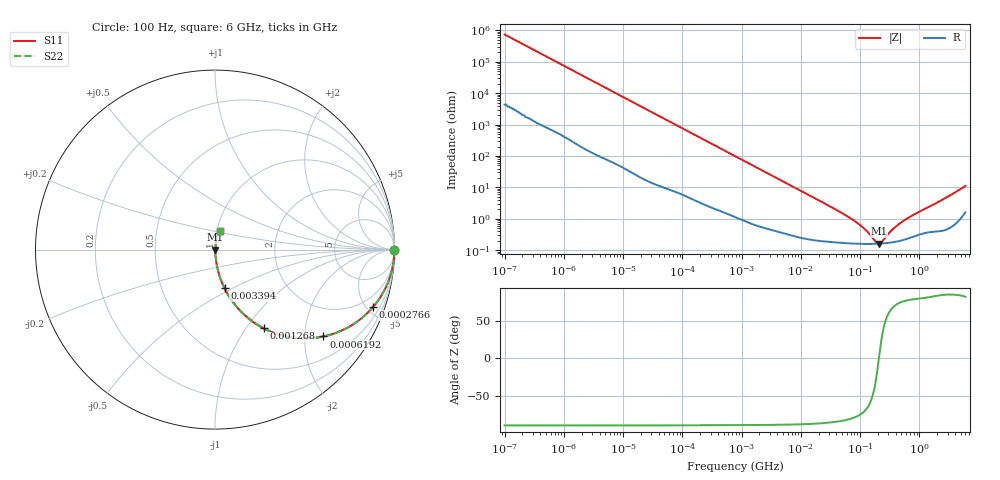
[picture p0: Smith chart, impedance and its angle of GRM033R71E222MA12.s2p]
!Murata Part Number: GRM033R71E222MA12
!These Parameters are Measured in Series Mode Connection
!Data Generated on Mar 30, 2021
!  o--ll--o
!Port1  Port2
!  o------o
!Operation Temp=25[degC], DC Bias Voltage=0[V]
!Freq. Start=100[Hz] Stop=6[GHz] 401[Steps]
# Hz S RI R 50
!Freq.(Hz) S11(Real) S11(Imag) S21(Real) S21(Imag) S12(Real) S12(Imag) S22(Real) S22(Imag)
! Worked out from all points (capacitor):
!   401 points, 100 Hz to 6 GHz, reference 50 ohm
!   read as one part in series: C = 2.14 nF near 109 Hz
!   lowest |Z| = 162 mohm at 208.8 MHz (marker M1)
!   series resonance near 208.3 MHz, so ESL is about 270 pH
!   S11 on the Smith chart (normalised r, x): 100 Hz: open; 276.6 kHz: 1.05, -5.52; 619.2 kHz: 1.03, -2.48; 1.268 MHz: 1.02, -1.22; 3.394 MHz: 1.01, -0.46; 6 GHz: 1.03, +0.22
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100  1 -0.000135  8e-07 0.000135  8e-07 0.000135  1 -0.000135
2008  1 -0.00268  2.08e-05 0.00268  2.08e-05 0.00268  1 -0.00268
40335  0.9968 -0.0531  0.00315 0.0531  0.00315 0.0531  0.9968 -0.0531
112960  0.9773 -0.1451  0.0227 0.1451  0.0227 0.1451  0.9773 -0.1451
276587  0.8818 -0.3184  0.1182 0.3184  0.1182 0.3184  0.8818 -0.3184
413847  0.7713 -0.415  0.2287 0.415  0.2287 0.415  0.7713 -0.415
619225  0.6043 -0.4836  0.3957 0.4836  0.3957 0.4836  0.6043 -0.4836
774597  0.4959 -0.4943  0.5041 0.4943  0.5041 0.4943  0.4959 -0.4943
1267578  0.2724 -0.4389  0.7276 0.4389  0.7276 0.4389  0.2724 -0.4389
1983483  0.1353 -0.3348  0.8647 0.3348  0.8647 0.3348  0.1353 -0.3348
3394479  0.0532 -0.2153  0.9468 0.2153  0.9468 0.2153  0.0532 -0.2153
6644369  0.0165 -0.1151  0.9835 0.1151  0.9835 0.1151  0.0165 -0.1151
1.555665e7  0.00461 -0.0499  0.9954 0.0499  0.9954 0.0499  0.00461 -0.0499
8.154455e7  0.00168 -0.00825  0.9983 0.00825  0.9983 0.00825  0.00168 -0.00825
1.220122e8  0.0016 -0.00429  0.9984 0.00429  0.9984 0.00429  0.0016 -0.00429
1.825626e8  0.0016 -0.00101  0.9984 0.00101  0.9984 0.00101  0.0016 -0.00101
2.088084e8  0.00162 2.03e-05  0.9984 -2.03e-05  0.9984 -2.03e-05  0.00162 2.03e-05
2.388273e8  0.00164 0.00105  0.9984 -0.00105  0.9984 -0.00105  0.00164 0.00105
3.124326e8  0.00174 0.00317  0.9983 -0.00317  0.9983 -0.00317  0.00174 0.00317
4.274388e8  0.00194 0.00592  0.9981 -0.00592  0.9981 -0.00592  0.00194 0.00592
6.395615e8  0.00244 0.0102  0.9976 -0.0102  0.9976 -0.0102  0.00244 0.0102
6e9  0.0274 0.1061  0.9726 -0.1061  0.9726 -0.1061  0.0274 0.1061
